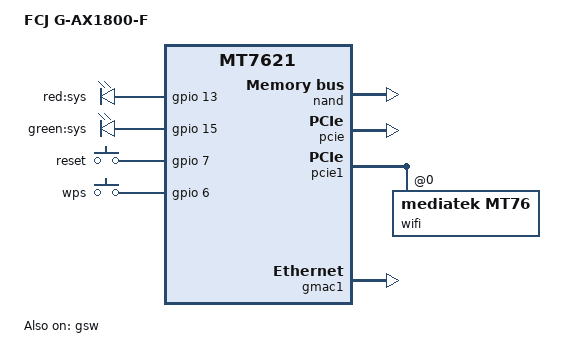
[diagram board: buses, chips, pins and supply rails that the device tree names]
// SPDX-License-Identifier: GPL-2.0-or-later OR MIT

#include "mt7621.dtsi"

#include <dt-bindings/gpio/gpio.h>
#include <dt-bindings/input/input.h>

/ {
	compatible = "fcj,g-ax1800-f", "mediatek,mt7621-soc";
	model = "FCJ G-AX1800-F";

	aliases {
		led-boot = &led_sys_red;
		led-failsafe = &led_sys_red;
		led-running = &led_sys_green;
		led-upgrade = &led_sys_green;
		label-mac-device = &gmac0;
	};

	chosen {
		bootargs = "console=ttyS0,115200";
		bootargs-override = "console=ttyS0,115200";
	};

	leds {
		compatible = "gpio-leds";

		led_sys_red: red {
			label = "red:sys";
			gpios = <&gpio 13 GPIO_ACTIVE_HIGH>;
		};

		led_sys_green: green {
			label = "green:sys";
			gpios = <&gpio 15 GPIO_ACTIVE_HIGH>;
		};
	};

	keys {
		compatible = "gpio-keys";

		reset {
			label = "reset";
			gpios = <&gpio 7 GPIO_ACTIVE_HIGH>;
			linux,code = <KEY_RESTART>;
		};

		wps {
			label = "wps";
			gpios = <&gpio 6 GPIO_ACTIVE_HIGH>;
			linux,code = <KEY_WPS_BUTTON>;
		};
	};
};

&nand {
	status = "okay";

	mediatek,nmbm;
	mediatek,bmt-max-ratio = <1>;
	mediatek,bmt-max-reserved-blocks = <64>;
	mediatek,bmt-remap-range = <0x0000000 0x0a00000>;

	partitions {
		compatible = "fixed-partitions";
		#address-cells = <1>;
		#size-cells = <1>;

		partition@0 {
			label = "Bootloader";
			reg = <0x0000000 0x0080000>;
			read-only;
		};

		partition@80000 {
			label = "Config";
			reg = <0x0080000 0x0080000>;
		};

		factory: partition@100000 {
			label = "Factory";
			reg = <0x0100000 0x0080000>;
			read-only;
		};

		partition@180000 {
			label = "kernel";
			reg = <0x180000 0x800000>;
		};

		partition@980000 {
			label = "ubi";
			reg = <0x980000 0x6e80000>;
		};
	};
};

&pcie {
	status = "okay";
};

&pcie1 {
	wifi@0,0 {
		compatible = "mediatek,mt76";
		reg = <0x0000 0 0 0 0>;
		mediatek,mtd-eeprom = <&factory 0x0>;
	};
};

&gmac0 {
	mtd-mac-address = <&factory 0x3fff4>;
};

&gmac1 {
	mtd-mac-address = <&factory 0x3fffa>;
	status = "okay";
};

&gsw {
	mediatek,portmap = "lllwl";
	status = "okay";
};

&hnat {
	mtketh-wan = "eth1";
	mtketh-ppd = "eth0";
	mtketh-lan = "eth0";
	mtketh-max-gmac = <2>;
	/delete-property/ mtkdsa-wan-port;
};

&switch0 {
	status = "disabled";
};

&state_default {
	gpio {
		groups = "jtag", "uart3", "wdt";
		function = "gpio";
	};
};
